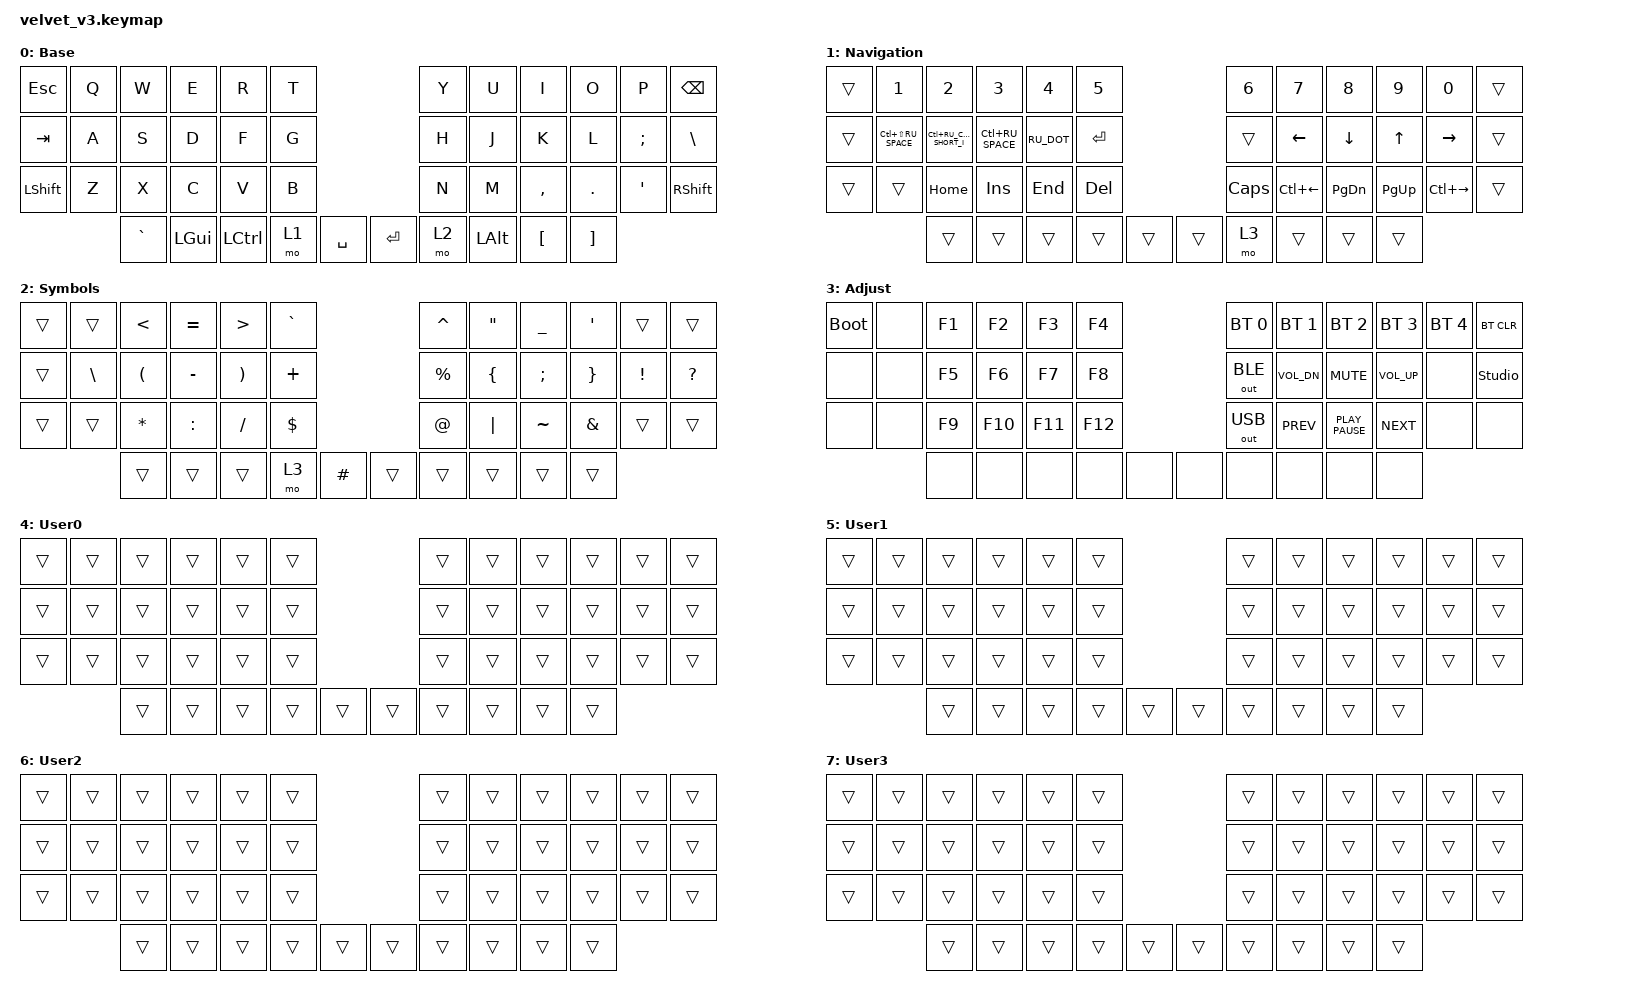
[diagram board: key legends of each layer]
#include "keys_ru.h"
#include <behaviors.dtsi>
#include <dt-bindings/zmk/bt.h>
#include <dt-bindings/zmk/keys.h>
#include <dt-bindings/zmk/outputs.h>

/ {
    keymap {
        compatible = "zmk,keymap";

        base {
            bindings = <
&kp ESC    &kp Q  &kp W      &kp E     &kp R      &kp T                        &kp Y  &kp U     &kp I      &kp O     &kp P     &kp BSPC
&kp TAB    &kp A  &kp S      &kp D     &kp F      &kp G                        &kp H  &kp J     &kp K      &kp L     &kp SEMI  &kp BSLH
&kp LSHFT  &kp Z  &kp X      &kp C     &kp V      &kp B                        &kp N  &kp M     &kp COMMA  &kp DOT   &kp SQT   &kp RSHFT
                  &kp GRAVE  &kp LGUI  &kp LCTRL  &mo 1  &kp SPACE    &kp RET  &mo 2  &kp LALT  &kp LBKT   &kp RBKT
            >;

            display-name = "Base";
        };

        Navigation {
            bindings = <
&trans  &kp N1                &kp N2                       &kp N3            &kp N4      &kp N5                     &kp N6    &kp N7        &kp N8         &kp N9       &kp N0         &trans
&trans  &kp LC(LS(RU_SPACE))  &kp LC(RU_CYRILLIC_SHORT_I)  &kp LC(RU_SPACE)  &kp RU_DOT  &kp RET                    &trans    &kp LEFT      &kp DOWN       &kp UP       &kp RIGHT      &trans
&trans  &trans                &kp HOME                     &kp INS           &kp END     &kp DEL                    &kp CLCK  &kp LC(LEFT)  &kp PAGE_DOWN  &kp PAGE_UP  &kp LC(RIGHT)  &trans
                              &trans                       &trans            &trans      &trans   &trans    &trans  &mo 3     &trans        &trans         &trans
            >;

            display-name = "Navigation";
        };

        sym {
            bindings = <
&trans  &trans    &kp LT    &kp EQUAL  &kp GT    &kp GRAVE                      &kp CARET  &kp DQT   &kp UNDER  &kp SQT   &trans    &trans
&trans  &kp BSLH  &kp LPAR  &kp MINUS  &kp RPAR  &kp PLUS                       &kp PRCNT  &kp LBRC  &kp SEMI   &kp RBRC  &kp EXCL  &kp QUESTION
&trans  &trans    &kp STAR  &kp COLON  &kp FSLH  &kp DLLR                       &kp AT     &kp PIPE  &kp TILDE  &kp AMPS  &trans    &trans
                  &trans    &trans     &trans    &mo 3      &kp HASH    &trans  &trans     &trans    &trans     &trans
            >;

            display-name = "Symbols";
        };

        adj {
            bindings = <
&bootloader  &none  &kp F1  &kp F2   &kp F3   &kp F4                   &bt BT_SEL 0  &bt BT_SEL 1  &bt BT_SEL 2      &bt BT_SEL 3  &bt BT_SEL 4  &bt BT_CLR
&none        &none  &kp F5  &kp F6   &kp F7   &kp F8                   &out OUT_BLE  &kp C_VOL_DN  &kp K_MUTE        &kp C_VOL_UP  &none         &studio_unlock
&none        &none  &kp F9  &kp F10  &kp F11  &kp F12                  &out OUT_USB  &kp K_PREV    &kp K_PLAY_PAUSE  &kp K_NEXT    &none         &none
                    &none   &none    &none    &none    &none    &none  &none         &none         &none             &none
            >;

            display-name = "Adjust";
        };

        User0 {
            bindings = <
&trans  &trans  &trans  &trans  &trans  &trans                    &trans  &trans  &trans  &trans  &trans  &trans
&trans  &trans  &trans  &trans  &trans  &trans                    &trans  &trans  &trans  &trans  &trans  &trans
&trans  &trans  &trans  &trans  &trans  &trans                    &trans  &trans  &trans  &trans  &trans  &trans
                &trans  &trans  &trans  &trans  &trans    &trans  &trans  &trans  &trans  &trans
            >;

            display-name = "User0";
        };

        User1 {
            bindings = <
&trans  &trans  &trans  &trans  &trans  &trans                    &trans  &trans  &trans  &trans  &trans  &trans
&trans  &trans  &trans  &trans  &trans  &trans                    &trans  &trans  &trans  &trans  &trans  &trans
&trans  &trans  &trans  &trans  &trans  &trans                    &trans  &trans  &trans  &trans  &trans  &trans
                &trans  &trans  &trans  &trans  &trans    &trans  &trans  &trans  &trans  &trans
            >;

            display-name = "User1";
        };

        User2 {
            bindings = <
&trans  &trans  &trans  &trans  &trans  &trans                    &trans  &trans  &trans  &trans  &trans  &trans
&trans  &trans  &trans  &trans  &trans  &trans                    &trans  &trans  &trans  &trans  &trans  &trans
&trans  &trans  &trans  &trans  &trans  &trans                    &trans  &trans  &trans  &trans  &trans  &trans
                &trans  &trans  &trans  &trans  &trans    &trans  &trans  &trans  &trans  &trans
            >;

            display-name = "User2";
        };

        User3 {
            bindings = <
&trans  &trans  &trans  &trans  &trans  &trans                    &trans  &trans  &trans  &trans  &trans  &trans
&trans  &trans  &trans  &trans  &trans  &trans                    &trans  &trans  &trans  &trans  &trans  &trans
&trans  &trans  &trans  &trans  &trans  &trans                    &trans  &trans  &trans  &trans  &trans  &trans
                &trans  &trans  &trans  &trans  &trans    &trans  &trans  &trans  &trans  &trans
            >;

            display-name = "User3";
        };
    };
};
